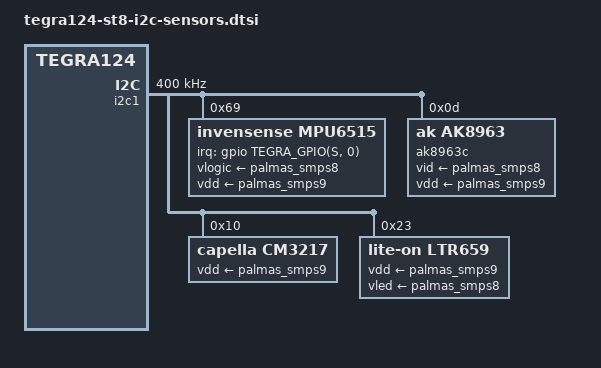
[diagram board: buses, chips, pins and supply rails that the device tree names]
#include <dt-bindings/gpio/tegra-gpio.h>

/ {
    i2c1: i2c@0,7000c000 {
        #address-cells = <0x1>;
        #size-cells = <0x0>;
        compatible = "nvidia,tegra124-i2c";
        reg = <0x0 0x7000c000 0x0 0x100>;
        interrupts = <0x0 0x26 0x4>;
        scl-gpio = <0x7 0x14 0x0>;
        sda-gpio = <0x7 0x15 0x0>;
        nvidia,memory-clients = <0xe>;
        status = "okay";
        clock-frequency = <0x61a80>;
        
        mpu6515@69 {
            compatible = "invensense,mpu6515";
            reg = <0x69>;
            interrupt-parent = <&gpio>;
            interrupts = <TEGRA_GPIO(S, 0) 0x01>;
            invensense,int_config = <0x10>;
            invensense,level_shifter = <0x0>;
            invensense,orientation = [ff 00 00 00 01 00 00 00 ff];
            invensense,sec_slave_type = <0x0>;
            invensense,key = <0x4ecc7eeb 0xf61e3522 0x340d65 0x32e99489>;
            vlogic-supply = <&palmas_smps8>;
            vdd-supply = <&palmas_smps9>;
        };
        
        ak8963c@0d {
            compatible = "ak,ak8963";
            reg = <0xd>;
            orientation = [ff 00 00 00 01 00 00 00 ff];
            config = "mpu";
            vid-supply = <&palmas_smps8>;
            vdd-supply = <&palmas_smps9>;
        };
        
        cm3217@10 {
            compatible = "capella,cm3217";
            reg = <0x10>;
            vdd-supply = <&palmas_smps9>;
            illuminance,resolution = "8740";
            illuminance,max-range = "681613.7";
            illuminance,power-consumed = "0.09";
        };
        
        ltr659@23 {
            compatible = "lite-on,ltr659";
            reg = <0x23>;
            threshold = <0x50>;
            vdd-supply = <&palmas_smps9>;
            vled-supply = <&palmas_smps8>;
        };
    };
};
